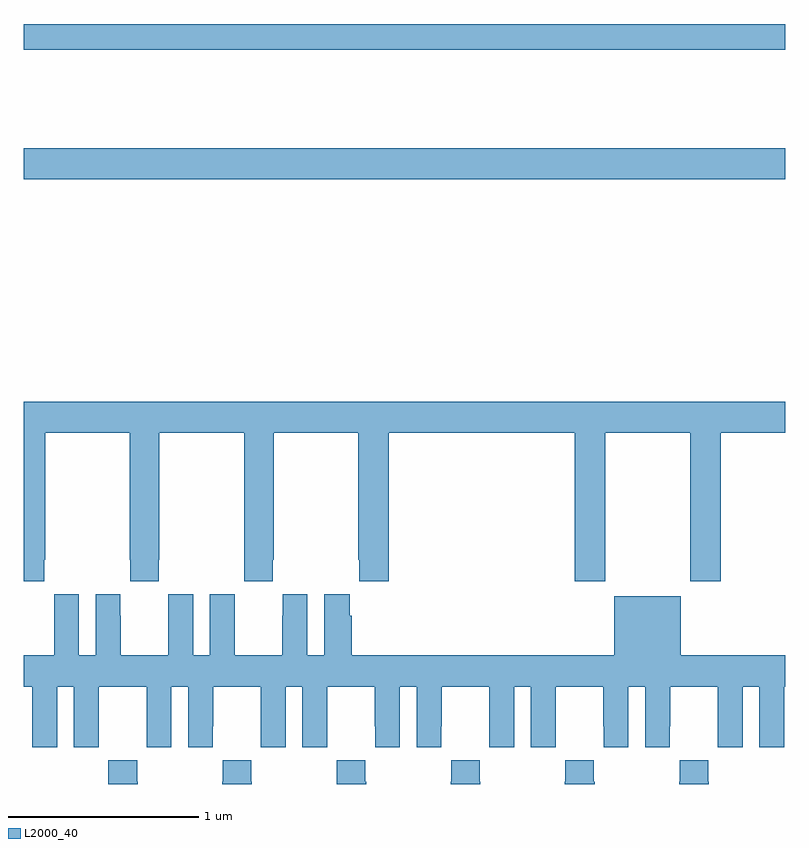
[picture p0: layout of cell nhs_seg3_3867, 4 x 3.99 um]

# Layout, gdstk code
import gdstk
lib = gdstk.Library(unit=1e-6, precision=1e-09)
def R(c, l, rs):  # rectangles x0, y0, x1, y1
    for r in rs: c.add(gdstk.rectangle(r[:2], r[2:], *l))
def P(c, l, *ps):  # polygons
    for p in ps: c.add(gdstk.Polygon(p, *l))
L2000_40 = (2000, 40)

nhs_seg3_3867 = lib.new_cell('nhs_seg3_3867')
R(nhs_seg3_3867, L2000_40, [(311,707.576,315,707.74), (311,708.256,315,708.392)])
P(nhs_seg3_3867, L2000_40, [(311.109,705.577),(311.112,705.577),(311.112,706.244),(311.557,706.244),(311.557,705.577),(311.559,705.577),(311.559,705.465),(311.709,705.465),(311.709,705.577),(311.712,705.577),(311.712,706.244),(312.157,706.244),(312.157,705.577),(312.159,705.577),(312.159,705.465),(312.309,705.465),(312.309,705.577),(312.312,705.577),(312.312,706.244),(312.757,706.244),(312.757,705.577),(312.763,705.577),(312.763,705.465),(312.917,705.465),(312.917,706.244),(313.895,706.244),(313.895,705.465),(314.055,705.465),(314.055,706.244),(314.5,706.244),(314.5,705.465),(314.66,705.465),(314.66,706.244),(315,706.244),(315,706.408),(311,706.408),(311,705.465),(311.109,705.465)],
  [(311.176,704.912),(311.264,704.912),(311.264,704.592),(311.394,704.592),(311.394,704.704),(311.395,704.704),(311.395,704.912),(311.645,704.912),(311.645,704.704),(311.646,704.704),(311.646,704.592),(311.776,704.592),(311.776,704.912),(311.864,704.912),(311.864,704.592),(311.994,704.592),(311.994,704.704),(311.995,704.704),(311.995,704.912),(312.245,704.912),(312.245,704.704),(312.246,704.704),(312.246,704.592),(312.376,704.592),(312.376,704.912),(312.464,704.912),(312.464,704.592),(312.594,704.592),(312.594,704.704),(312.595,704.704),(312.595,704.912),(312.845,704.912),(312.845,704.704),(312.846,704.704),(312.846,704.592),(312.976,704.592),(312.976,704.912),(313.064,704.912),(313.064,704.592),(313.194,704.592),(313.194,704.704),(313.195,704.704),(313.195,704.912),(313.445,704.912),(313.445,704.704),(313.446,704.704),(313.446,704.592),(313.576,704.592),(313.576,704.912),(313.664,704.912),(313.664,704.592),(313.794,704.592),(313.794,704.704),(313.795,704.704),(313.795,704.912),(314.045,704.912),(314.045,704.704),(314.046,704.704),(314.046,704.592),(314.176,704.592),(314.176,704.912),(314.264,704.912),(314.264,704.592),(314.394,704.592),(314.394,704.704),(314.395,704.704),(314.395,704.912),(314.645,704.912),(314.645,704.704),(314.646,704.704),(314.646,704.592),(314.776,704.592),(314.776,704.912),(314.864,704.912),(314.864,704.592),(314.994,704.592),(314.994,704.704),(314.995,704.704),(314.995,704.912),(315,704.912),(315,705.076),(314.452,705.076),(314.452,705.385),(314.102,705.385),(314.102,705.076),(312.722,705.076),(312.722,705.284),(312.712,705.284),(312.712,705.397),(312.578,705.397),(312.578,705.076),(312.49,705.076),(312.49,705.397),(312.36,705.397),(312.36,705.284),(312.359,705.284),(312.359,705.076),(312.109,705.076),(312.109,705.284),(312.108,705.284),(312.108,705.397),(311.978,705.397),(311.978,705.076),(311.89,705.076),(311.89,705.397),(311.76,705.397),(311.76,705.284),(311.759,705.284),(311.759,705.076),(311.509,705.076),(311.509,705.284),(311.508,705.284),(311.508,705.397),(311.378,705.397),(311.378,705.076),(311.29,705.076),(311.29,705.397),(311.16,705.397),(311.16,705.284),(311.159,705.284),(311.159,705.076),(311,705.076),(311,704.912),(311.045,704.912),(311.045,704.704),(311.046,704.704),(311.046,704.592),(311.176,704.592)],
  [(313.398,704.411),(313.395,704.411),(313.395,704.524),(313.245,704.524),(313.245,704.411),(313.243,704.411),(313.243,704.4),(313.398,704.4)],
  [(311.598,704.411),(311.595,704.411),(311.595,704.524),(311.445,704.524),(311.445,704.411),(311.443,704.411),(311.443,704.4),(311.598,704.4)],
  [(314.598,704.411),(314.595,704.411),(314.595,704.524),(314.445,704.524),(314.445,704.411),(314.443,704.411),(314.443,704.4),(314.598,704.4)],
  [(313.998,704.411),(313.995,704.411),(313.995,704.524),(313.845,704.524),(313.845,704.411),(313.843,704.411),(313.843,704.4),(313.998,704.4)],
  [(312.798,704.411),(312.795,704.411),(312.795,704.524),(312.645,704.524),(312.645,704.411),(312.643,704.411),(312.643,704.4),(312.798,704.4)],
  [(312.198,704.411),(312.195,704.411),(312.195,704.524),(312.045,704.524),(312.045,704.411),(312.043,704.411),(312.043,704.4),(312.198,704.4)])

lib.write_gds('nhs_seg3_3867.gds')
